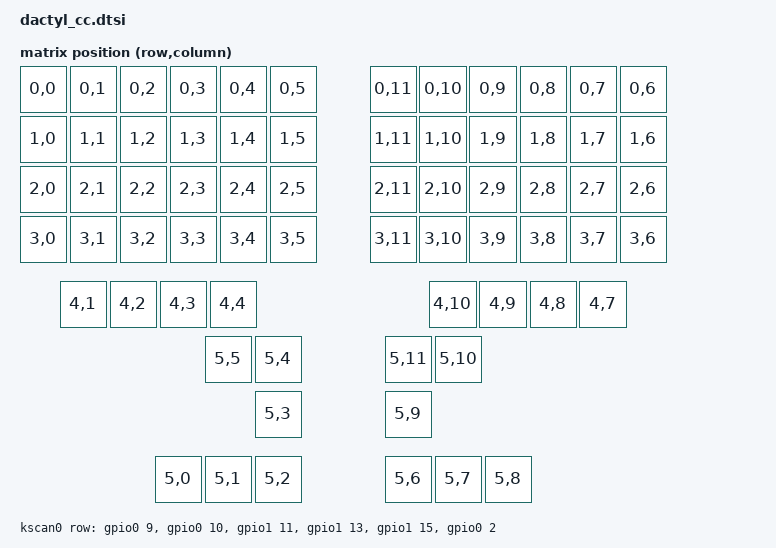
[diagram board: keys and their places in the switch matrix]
#include <dt-bindings/zmk/matrix_transform.h>
#include <physical_layouts.dtsi>

/ {
    chosen {
        zmk,kscan = &kscan0;
        zmk,physical-layout = &dactyl_cc_layout;
    };

    dactyl_cc_layout: dactyl_cc_layout {
        compatible = "zmk,physical-layout";
        display-name = "Kekoriki360";
        transform = <&default_transform>;
        kscan = <&kscan0>;
        keys
            = <&key_physical_attrs 100 100    0   0 0 0 0>
            , <&key_physical_attrs 100 100  100   0 0 0 0>
            , <&key_physical_attrs 100 100  200   0 0 0 0>
            , <&key_physical_attrs 100 100  300   0 0 0 0>
            , <&key_physical_attrs 100 100  400   0 0 0 0>
            , <&key_physical_attrs 100 100  500   0 0 0 0>
            , <&key_physical_attrs 100 100  700   0 0 0 0>
            , <&key_physical_attrs 100 100  800   0 0 0 0>
            , <&key_physical_attrs 100 100  900   0 0 0 0>
            , <&key_physical_attrs 100 100 1000   0 0 0 0>
            , <&key_physical_attrs 100 100 1100   0 0 0 0>
            , <&key_physical_attrs 100 100 1200   0 0 0 0>
            , <&key_physical_attrs 100 100    0 100 0 0 0>
            , <&key_physical_attrs 100 100  100 100 0 0 0>
            , <&key_physical_attrs 100 100  200 100 0 0 0>
            , <&key_physical_attrs 100 100  300 100 0 0 0>
            , <&key_physical_attrs 100 100  400 100 0 0 0>
            , <&key_physical_attrs 100 100  500 100 0 0 0>
            , <&key_physical_attrs 100 100  700 100 0 0 0>
            , <&key_physical_attrs 100 100  800 100 0 0 0>
            , <&key_physical_attrs 100 100  900 100 0 0 0>
            , <&key_physical_attrs 100 100 1000 100 0 0 0>
            , <&key_physical_attrs 100 100 1100 100 0 0 0>
            , <&key_physical_attrs 100 100 1200 100 0 0 0>
            , <&key_physical_attrs 100 100    0 200 0 0 0>
            , <&key_physical_attrs 100 100  100 200 0 0 0>
            , <&key_physical_attrs 100 100  200 200 0 0 0>
            , <&key_physical_attrs 100 100  300 200 0 0 0>
            , <&key_physical_attrs 100 100  400 200 0 0 0>
            , <&key_physical_attrs 100 100  500 200 0 0 0>
            , <&key_physical_attrs 100 100  700 200 0 0 0>
            , <&key_physical_attrs 100 100  800 200 0 0 0>
            , <&key_physical_attrs 100 100  900 200 0 0 0>
            , <&key_physical_attrs 100 100 1000 200 0 0 0>
            , <&key_physical_attrs 100 100 1100 200 0 0 0>
            , <&key_physical_attrs 100 100 1200 200 0 0 0>
            , <&key_physical_attrs 100 100    0 300 0 0 0>
            , <&key_physical_attrs 100 100  100 300 0 0 0>
            , <&key_physical_attrs 100 100  200 300 0 0 0>
            , <&key_physical_attrs 100 100  300 300 0 0 0>
            , <&key_physical_attrs 100 100  400 300 0 0 0>
            , <&key_physical_attrs 100 100  500 300 0 0 0>
            , <&key_physical_attrs 100 100  700 300 0 0 0>
            , <&key_physical_attrs 100 100  800 300 0 0 0>
            , <&key_physical_attrs 100 100  900 300 0 0 0>
            , <&key_physical_attrs 100 100 1000 300 0 0 0>
            , <&key_physical_attrs 100 100 1100 300 0 0 0>
            , <&key_physical_attrs 100 100 1200 300 0 0 0>
            , <&key_physical_attrs 100 100   80 430 0 0 0>
            , <&key_physical_attrs 100 100  180 430 0 0 0>
            , <&key_physical_attrs 100 100  280 430 0 0 0>
            , <&key_physical_attrs 100 100  380 430 0 0 0>
            , <&key_physical_attrs 100 100  820 430 0 0 0>
            , <&key_physical_attrs 100 100  920 430 0 0 0>
            , <&key_physical_attrs 100 100 1020 430 0 0 0>
            , <&key_physical_attrs 100 100 1120 430 0 0 0>
            , <&key_physical_attrs 100 100  470 540 0 0 0>
            , <&key_physical_attrs 100 100  370 540 0 0 0>
            , <&key_physical_attrs 100 100  730 540 0 0 0>
            , <&key_physical_attrs 100 100  830 540 0 0 0>
            , <&key_physical_attrs 100 100  470 650 0 0 0>
            , <&key_physical_attrs 100 100  730 650 0 0 0>
            , <&key_physical_attrs 100 100  470 780 0 0 0>
            , <&key_physical_attrs 100 100  370 780 0 0 0>
            , <&key_physical_attrs 100 100  270 780 0 0 0>
            , <&key_physical_attrs 100 100  730 780 0 0 0>
            , <&key_physical_attrs 100 100  830 780 0 0 0>
            , <&key_physical_attrs 100 100  930 780 0 0 0>
            ;
    };

    default_transform: keymap_transform_0 {
        compatible = "zmk,matrix-transform";
        columns = <12>;
        rows = <6>;
// | MX1  | MX2  | MX3  | MX4  | MX5  | MX6  |                 | MX7  | MX8  | MX9  | MX10 | MX11 | MX12 |
// | MX13 | MX14 | MX15 | MX16 | MX17 | MX18 |                 | MX19 | MX20 | MX21 | MX22 | MX23 | MX24 |
// | MX25 | MX26 | MX27 | MX28 | MX29 | MX30 |                 | MX31 | MX32 | MX33 | MX34 | MX35 | MX36 |
// | MX37 | MX38 | MX39 | MX40 | MX41 | MX42 |                 | MX43 | MX44 | MX45 | MX46 | MX47 | MX48 |
//        | MX49 | MX50 | MX51 | MX52 |                               | MX53 | MX54 | MX55 | MX56 |
//                                    | MX57 | MX58 |   | MX59 | MX60 |
//                                           | MX61 |   | MX62 |
//                             | MX63 | MX64 | MX65 |   | MX66 | MX67 | MX68 |
        map = <
RC(0,0) RC(0,1) RC(0,2) RC(0,3) RC(0,4) RC(0,5)                   RC(0,11) RC(0,10) RC(0,9) RC(0,8) RC(0,7) RC(0,6)
RC(1,0) RC(1,1) RC(1,2) RC(1,3) RC(1,4) RC(1,5)                   RC(1,11) RC(1,10) RC(1,9) RC(1,8) RC(1,7) RC(1,6)
RC(2,0) RC(2,1) RC(2,2) RC(2,3) RC(2,4) RC(2,5)                   RC(2,11) RC(2,10) RC(2,9) RC(2,8) RC(2,7) RC(2,6)
RC(3,0) RC(3,1) RC(3,2) RC(3,3) RC(3,4) RC(3,5)                   RC(3,11) RC(3,10) RC(3,9) RC(3,8) RC(3,7) RC(3,6)
        RC(4,1) RC(4,2) RC(4,3) RC(4,4)                                    RC(4,10) RC(4,9) RC(4,8) RC(4,7)
                                        RC(5,4) RC(5,5)  RC(5,11) RC(5,10)
                                                RC(5,3)  RC(5,9)
                                RC(5,2) RC(5,1) RC(5,0)  RC(5,6)  RC(5,7) RC(5,8)
        >;
    };

    kscan0: kscan {
        compatible = "zmk,kscan-gpio-matrix";
        label = "KSCAN";

        diode-direction = "col2row";
        row-gpios
            = <&gpio0 9  (GPIO_ACTIVE_HIGH | GPIO_PULL_DOWN)> // Row 0 from the schematic file
            , <&gpio0 10 (GPIO_ACTIVE_HIGH | GPIO_PULL_DOWN)> // Row 1 from the schematic file
            , <&gpio1 11 (GPIO_ACTIVE_HIGH | GPIO_PULL_DOWN)> // Row 2 from the schematic file
            , <&gpio1 13 (GPIO_ACTIVE_HIGH | GPIO_PULL_DOWN)> // Row 3 from the schematic file
            , <&gpio1 15 (GPIO_ACTIVE_HIGH | GPIO_PULL_DOWN)> // Row 4 from the schematic file
            , <&gpio0 2  (GPIO_ACTIVE_HIGH | GPIO_PULL_DOWN)> // Row 5 from the schematic file
            ;

    };
};
